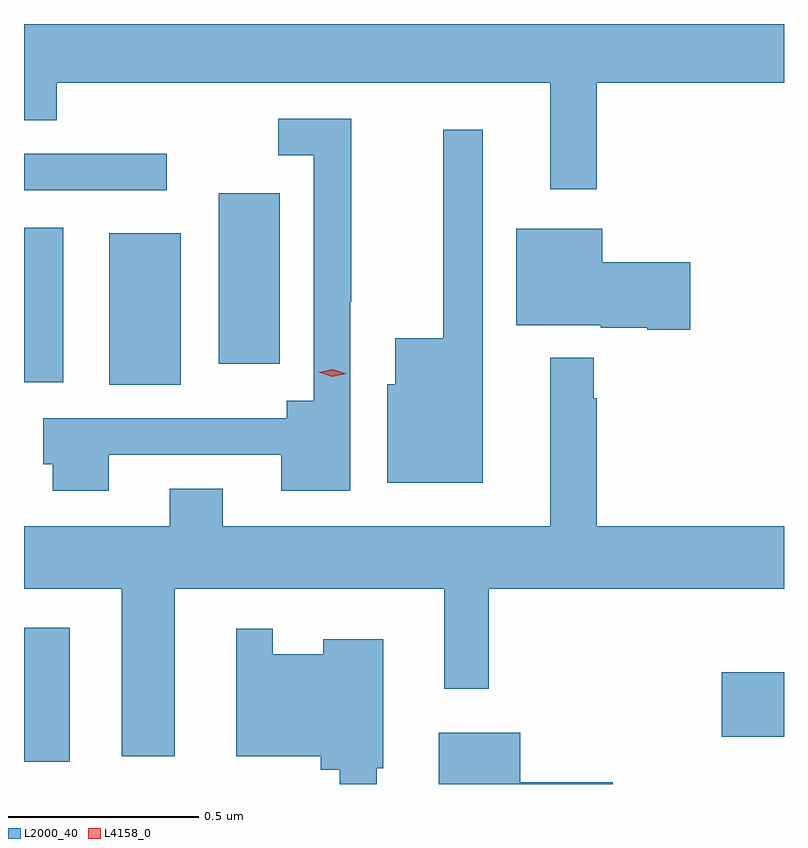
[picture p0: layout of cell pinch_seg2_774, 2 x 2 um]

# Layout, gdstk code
import gdstk
lib = gdstk.Library(unit=1e-6, precision=1e-09)
def R(c, l, rs):  # rectangles x0, y0, x1, y1
    for r in rs: c.add(gdstk.rectangle(r[:2], r[2:], *l))
def P(c, l, *ps):  # polygons
    for p in ps: c.add(gdstk.Polygon(p, *l))
L2000_40 = (2000, 40)
L4158_0 = (4158, 0)

pinch_seg2_774 = lib.new_cell('pinch_seg2_774')
R(pinch_seg2_774, L2000_40, [(672.564,644.516,672.685,644.869), (674.4,644.582,674.564,644.752), (672.788,645.509,672.976,645.907), (672.564,645.515,672.667,645.922), (673.076,645.564,673.237,646.012), (672.564,646.02,672.94,646.116)])
P(pinch_seg2_774, L2000_40, [(674.071,646.304),(674.564,646.304),(674.564,646.458),(672.564,646.458),(672.564,646.205),(672.65,646.205),(672.65,646.304),(673.949,646.304),(673.949,646.023),(674.071,646.023)],
  [(672.787,645.324),(673.241,645.324),(673.241,645.23),(673.422,645.23),(673.422,645.727),(673.425,645.727),(673.425,646.209),(673.233,646.209),(673.233,646.113),(673.326,646.113),(673.326,645.466),(673.256,645.466),(673.256,645.42),(672.614,645.42),(672.614,645.299),(672.64,645.299),(672.64,645.23),(672.787,645.23)],
  [(673.771,646.18),(673.667,646.18),(673.667,645.631),(673.541,645.631),(673.541,645.51),(673.52,645.51),(673.52,645.251),(673.771,645.251)],
  [(674.317,645.831),(674.086,645.831),(674.086,645.919),(673.859,645.919),(673.859,645.665),(674.082,645.665),(674.082,645.659),(674.204,645.659),(674.204,645.653),(674.317,645.653)],
  [(672.961,644.972),(673.67,644.972),(673.67,644.709),(673.787,644.709),(673.787,644.972),(674.564,644.972),(674.564,645.136),(674.071,645.136),(674.071,645.473),(674.063,645.473),(674.063,645.58),(673.949,645.58),(673.949,645.136),(673.087,645.136),(673.087,645.235),(672.947,645.235),(672.947,645.136),(672.564,645.136),(672.564,644.972),(672.821,644.972),(672.821,644.531),(672.961,644.531)],
  [(673.492,644.499),(673.51,644.499),(673.51,644.839),(673.352,644.839),(673.352,644.8),(673.219,644.8),(673.219,644.866),(673.122,644.866),(673.122,644.531),(673.345,644.531),(673.345,644.495),(673.395,644.495),(673.395,644.458),(673.492,644.458)],
  [(674.113,644.462),(673.87,644.462),(673.87,644.593),(673.655,644.593),(673.655,644.458),(674.113,644.458)])
P(pinch_seg2_774, L4158_0, [(673.375,645.53),(673.34,645.541),(673.339,645.541),(673.34,645.541),(673.376,645.55),(673.412,645.538),(673.412,645.538),(673.412,645.538)])

lib.write_gds('pinch_seg2_774.gds')
